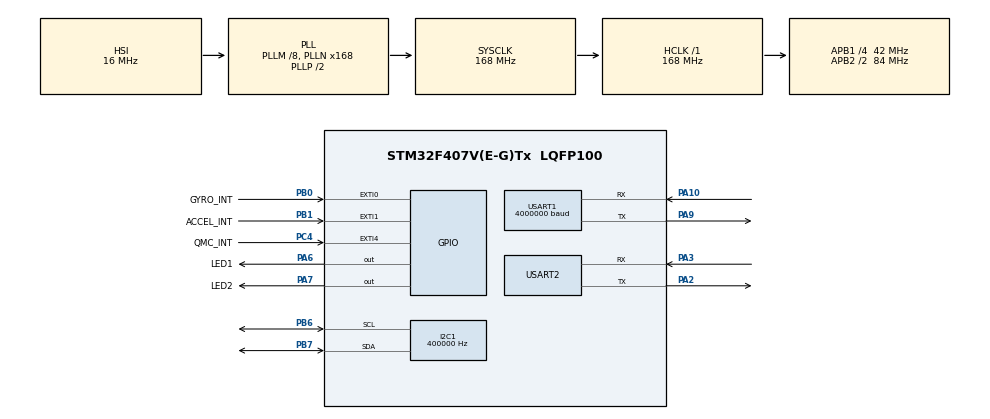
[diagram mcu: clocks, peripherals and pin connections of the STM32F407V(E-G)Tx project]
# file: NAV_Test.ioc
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Dma.I2C1_RX.4.Direction=DMA_PERIPH_TO_MEMORY
Dma.I2C1_RX.4.FIFOMode=DMA_FIFOMODE_DISABLE
Dma.I2C1_RX.4.Instance=DMA1_Stream0
Dma.I2C1_RX.4.MemDataAlignment=DMA_MDATAALIGN_BYTE
Dma.I2C1_RX.4.MemInc=DMA_MINC_ENABLE
Dma.I2C1_RX.4.Mode=DMA_NORMAL
Dma.I2C1_RX.4.PeriphDataAlignment=DMA_PDATAALIGN_BYTE
Dma.I2C1_RX.4.PeriphInc=DMA_PINC_DISABLE
Dma.I2C1_RX.4.Priority=DMA_PRIORITY_LOW
Dma.I2C1_TX.5.Direction=DMA_MEMORY_TO_PERIPH
Dma.I2C1_TX.5.FIFOMode=DMA_FIFOMODE_DISABLE
Dma.I2C1_TX.5.Instance=DMA1_Stream7
Dma.I2C1_TX.5.MemDataAlignment=DMA_MDATAALIGN_BYTE
Dma.I2C1_TX.5.MemInc=DMA_MINC_ENABLE
Dma.I2C1_TX.5.Mode=DMA_NORMAL
Dma.I2C1_TX.5.PeriphDataAlignment=DMA_PDATAALIGN_BYTE
Dma.I2C1_TX.5.PeriphInc=DMA_PINC_DISABLE
Dma.I2C1_TX.5.Priority=DMA_PRIORITY_LOW
Dma.Request0=USART1_RX
Dma.Request1=USART1_TX
Dma.Request2=USART2_TX
Dma.Request3=USART2_RX
Dma.Request4=I2C1_RX
Dma.Request5=I2C1_TX
Dma.USART1_RX.0.Direction=DMA_PERIPH_TO_MEMORY
Dma.USART1_RX.0.FIFOMode=DMA_FIFOMODE_DISABLE
Dma.USART1_RX.0.Instance=DMA2_Stream2
Dma.USART1_RX.0.MemDataAlignment=DMA_MDATAALIGN_BYTE
Dma.USART1_RX.0.MemInc=DMA_MINC_ENABLE
Dma.USART1_RX.0.Mode=DMA_NORMAL
Dma.USART1_RX.0.PeriphDataAlignment=DMA_PDATAALIGN_BYTE
Dma.USART1_RX.0.PeriphInc=DMA_PINC_DISABLE
Dma.USART1_RX.0.Priority=DMA_PRIORITY_LOW
Dma.USART1_TX.1.Direction=DMA_MEMORY_TO_PERIPH
Dma.USART1_TX.1.FIFOMode=DMA_FIFOMODE_ENABLE
Dma.USART1_TX.1.FIFOThreshold=DMA_FIFO_THRESHOLD_FULL
Dma.USART1_TX.1.Instance=DMA2_Stream7
Dma.USART1_TX.1.MemBurst=DMA_MBURST_SINGLE
Dma.USART1_TX.1.MemDataAlignment=DMA_MDATAALIGN_BYTE
Dma.USART1_TX.1.MemInc=DMA_MINC_ENABLE
Dma.USART1_TX.1.Mode=DMA_NORMAL
Dma.USART1_TX.1.PeriphBurst=DMA_PBURST_SINGLE
Dma.USART1_TX.1.PeriphDataAlignment=DMA_PDATAALIGN_BYTE
Dma.USART1_TX.1.PeriphInc=DMA_PINC_DISABLE
Dma.USART1_TX.1.Priority=DMA_PRIORITY_LOW
Dma.USART2_RX.3.Direction=DMA_PERIPH_TO_MEMORY
Dma.USART2_RX.3.FIFOMode=DMA_FIFOMODE_DISABLE
Dma.USART2_RX.3.Instance=DMA1_Stream5
Dma.USART2_RX.3.MemDataAlignment=DMA_MDATAALIGN_BYTE
Dma.USART2_RX.3.MemInc=DMA_MINC_ENABLE
Dma.USART2_RX.3.Mode=DMA_CIRCULAR
Dma.USART2_RX.3.PeriphDataAlignment=DMA_PDATAALIGN_BYTE
Dma.USART2_RX.3.PeriphInc=DMA_PINC_DISABLE
Dma.USART2_RX.3.Priority=DMA_PRIORITY_LOW
Dma.USART2_TX.2.Direction=DMA_MEMORY_TO_PERIPH
Dma.USART2_TX.2.FIFOMode=DMA_FIFOMODE_DISABLE
Dma.USART2_TX.2.Instance=DMA1_Stream6
Dma.USART2_TX.2.MemDataAlignment=DMA_MDATAALIGN_BYTE
Dma.USART2_TX.2.MemInc=DMA_MINC_ENABLE
Dma.USART2_TX.2.Mode=DMA_NORMAL
Dma.USART2_TX.2.PeriphDataAlignment=DMA_PDATAALIGN_BYTE
Dma.USART2_TX.2.PeriphInc=DMA_PINC_DISABLE
Dma.USART2_TX.2.Priority=DMA_PRIORITY_MEDIUM
I2C1.ClockSpeed=400000
I2C1.DutyCycle=I2C_DUTYCYCLE_2
I2C1.I2C_Mode=I2C_Fast
I2C1.NoStretchMode=I2C_NOSTRETCH_DISABLE
Mcu.Family=STM32F4
Mcu.Name=STM32F407V(E-G)Tx
Mcu.Package=LQFP100
NVIC.DMA1_Stream0_IRQn=true\:0\:0\:false\:false\:true\:false\:true
NVIC.DMA1_Stream5_IRQn=true\:0\:0\:false\:false\:true\:false\:true
NVIC.DMA1_Stream6_IRQn=true\:0\:0\:false\:false\:true\:false\:true
NVIC.DMA1_Stream7_IRQn=true\:0\:0\:false\:false\:true\:false\:true
NVIC.DMA2_Stream2_IRQn=true\:0\:0\:false\:false\:true\:false\:true
NVIC.DMA2_Stream7_IRQn=true\:0\:0\:false\:false\:true\:false\:true
NVIC.EXTI0_IRQn=true\:0\:0\:false\:false\:true\:true\:true
NVIC.EXTI1_IRQn=true\:0\:0\:false\:false\:true\:true\:true
NVIC.EXTI4_IRQn=true\:0\:0\:false\:false\:true\:true\:true
NVIC.I2C1_ER_IRQn=true\:0\:0\:false\:false\:true\:true\:true
NVIC.I2C1_EV_IRQn=true\:0\:0\:false\:false\:true\:true\:true
NVIC.PriorityGroup=NVIC_PRIORITYGROUP_4
NVIC.USART1_IRQn=true\:0\:0\:false\:false\:true\:true\:true
NVIC.USART2_IRQn=true\:0\:0\:false\:false\:true\:true\:true
PA10.Mode=Asynchronous
PA10.Signal=USART1_RX
PA2.Mode=Asynchronous
PA2.Signal=USART2_TX
PA3.Mode=Asynchronous
PA3.Signal=USART2_RX
PA6.GPIO_Label=LED1
PA6.Signal=GPIO_Output
PA7.GPIO_Label=LED2
PA7.Signal=GPIO_Output
PA9.Mode=Asynchronous
PA9.Signal=USART1_TX
PB0.GPIO_Label=GYRO_INT
PB0.Signal=GPXTI0
PB1.GPIO_Label=ACCEL_INT
PB1.Signal=GPXTI1
PB6.GPIO_Pu=GPIO_NOPULL
PB6.Mode=I2C
PB6.Signal=I2C1_SCL
PB7.GPIO_Pu=GPIO_NOPULL
PB7.Mode=I2C
PB7.Signal=I2C1_SDA
PC4.GPIO_Label=QMC_INT
PC4.Signal=GPXTI4
ProjectManager.HeapSize=0x200
ProjectManager.StackSize=0x400
ProjectManager.TargetToolchain=STM32CubeIDE
RCC.48MHZClocksFreq_Value=84000000
RCC.AHBFreq_Value=168000000
RCC.APB1CLKDivider=RCC_HCLK_DIV4
RCC.APB1Freq_Value=42000000
RCC.APB1TimFreq_Value=84000000
RCC.APB2CLKDivider=RCC_HCLK_DIV2
RCC.APB2Freq_Value=84000000
RCC.APB2TimFreq_Value=168000000
RCC.CortexFreq_Value=168000000
RCC.HCLKFreq_Value=168000000
RCC.HSE_VALUE=25000000
RCC.HSI_VALUE=16000000
RCC.LSE_VALUE=32768
RCC.PLLM=8
RCC.PLLN=168
RCC.SYSCLKFreq_VALUE=168000000
RCC.SYSCLKSource=RCC_SYSCLKSOURCE_PLLCLK
RCC.VCOOutputFreq_Value=336000000
USART1.BaudRate=4000000
USART1.VirtualMode=VM_ASYNC
USART2.BaudRate=1.0447968*9600
USART2.VirtualMode=VM_ASYNC
board=custom

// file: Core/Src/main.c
/* USER CODE BEGIN Header */
/**
  ******************************************************************************
  * @file           : main.c
  * @brief          : Main program body
  ******************************************************************************
  * @attention
  *
  * <h2><center>&copy; Copyright (c) 2021 STMicroelectronics.
  * All rights reserved.</center></h2>
  *
  * This software component is licensed by ST under BSD 3-Clause license,
  * the "License"; You may not use this file except in compliance with the
  * License. You may obtain a copy of the License at:
  *                        opensource.org/licenses/BSD-3-Clause
  *
  ******************************************************************************
  */
/* USER CODE END Header */
#include "main.h"

/* USER CODE BEGIN Includes */
#include "gps_helpers.h"
#include "imu_helpers.h"
#include <math.h>
#include <stdarg.h>
#include <stdbool.h>
#include <stdlib.h>
#define CRC_CCITT
#include "../ThirdParty/CRC/crc.h"
/* USER CODE END Includes */

/* USER CODE BEGIN PD */
#define SERIAL_BUFFER_SIZE 4096
/* USER CODE END PD */

I2C_HandleTypeDef hi2c1;
DMA_HandleTypeDef hdma_i2c1_rx;
DMA_HandleTypeDef hdma_i2c1_tx;

UART_HandleTypeDef huart1;
UART_HandleTypeDef huart2;
DMA_HandleTypeDef hdma_usart1_rx;
DMA_HandleTypeDef hdma_usart1_tx;
DMA_HandleTypeDef hdma_usart2_tx;
DMA_HandleTypeDef hdma_usart2_rx;

/* USER CODE BEGIN PV */

// Avoid processing interrupts while we're still initing
bool initCompleted = false;

/* USER CODE END PV */

void SystemClock_Config(void);
static void MX_GPIO_Init(void);
static void MX_DMA_Init(void);
static void MX_USART1_UART_Init(void);
static void MX_USART2_UART_Init(void);
static void MX_I2C1_Init(void);

/* USER CODE BEGIN 0 */
uint8_t Buffer[256];
/* USER CODE END 0 */

int main(void)
{

  /* MCU Configuration--------------------------------------------------------*/

  /* Reset of all peripherals, Initializes the Flash interface and the Systick. */
  HAL_Init();

  /* Configure the system clock */
  SystemClock_Config();

  /* Initialize all configured peripherals */
  MX_GPIO_Init();
  MX_DMA_Init();
  MX_USART1_UART_Init();
  MX_USART2_UART_Init();
  MX_I2C1_Init();
  /* USER CODE BEGIN 2 */

  // Turn off the GPS fix status LED
  HAL_GPIO_WritePin(LED2_GPIO_Port, LED2_Pin, GPIO_PIN_RESET);

  // Initialize the GPS module and configure it to use the higher baudrate/UBX protocol
  // NOTE: Innitial delay is to give the sensor bus some time to start up / testing showed the GPS module needs ~1-2 seconds to start up before we can talk to it/configure it
  HAL_Delay(2000);
  PerformProtoNegotiation(&huart2, 9600, 115200);
  HAL_StatusTypeDef StartListenResult = HAL_UARTEx_ReceiveToIdle_DMA(&huart2, GPSBuffer, GPS_BUFFER_SIZE);

/*
  uint8_t Buffer[25] = {0};
  uint8_t Space[] = " - ";
  uint8_t StartMSG[] = "Starting I2C Scanning: \r\n";
  uint8_t EndMSG[] = "Done! \r\n\r\n";
  HAL_UART_Transmit(&huart2, StartMSG, sizeof(StartMSG), 10000);
  uint8_t i = 0, ret;
      for(i=1; i<128; i++)
      {
          ret = HAL_I2C_IsDeviceReady(&hi2c1, (uint16_t)(i<<1), 3, 5);
          if (ret != HAL_OK) // No ACK Received At That Address
          {
              HAL_UART_Transmit(&huart2, Space, sizeof(Space), 10000);
          }
          else if(ret == HAL_OK)
          {
              sprintf(Buffer, "0x%X", i);
              HAL_UART_Transmit(&huart2, Buffer, sizeof(Buffer), 10000);
          }
      }
      HAL_UART_Transmit(&huart2, EndMSG, sizeof(EndMSG), 10000);
      //--[ Scanning Done ]--
*/

  PerformImuConfiguration(&hi2c1, 3200, 3200);
  unsigned long int last_iTOW = 0;
  char buffer[SERIAL_BUFFER_SIZE];

  // Completed setup!
  initCompleted = true;
  /* USER CODE END 2 */

  /* Infinite loop */
  /* USER CODE BEGIN WHILE */
  while (1)
  {
	  /*
	  // TODO: Not ideal//replace with more robust alternative
	  // Pretty much catches case when no update is available for 1x
	  if (imuUpdateFlag == 0)
	  {
		  HAL_Delay(100);
		  if (imuUpdateFlag == 0)
		  {
			  LogDebugMessage("Lockup Detected!");
			  HAL_I2C_Master_Abort_IT(&hi2c1, GYRO_ADDR);
			  HAL_I2C_Master_Abort_IT(&hi2c1, ADXL345_ADDR);
			  HAL_I2C_StateTypeDef I2CState = HAL_I2C_GetState(&hi2c1);
			  LogDebugMessage("I2C State: %d", (int)I2CState);
			  // Disable and then re-ennable the i2c peripheral

			  hi2c1.Instance->CR1 |= I2C_CR1_STOP;
			  hi2c1.Instance->CR1 &= ~I2C_CR1_PE;
			  HAL_Delay(100);
			  hi2c1.Instance->CR1 &= ~I2C_CR1_STOP;
			  hi2c1.Instance->CR1 |= I2C_CR1_PE;
		  }
	  }*/

	  // Turn the second built-in LED on when a successful (new) valid GNSS fix was found
	  if (GPSUpdateFlags & GPS_UPDATE_AVAILABLE)
	  {
		  // Was this fix valid?
		  if (lastNavFix.flags & NAV_PVT_FLAGS_OKFIX && lastNavFix.fixType == 3)
		  {
			  // Valid fix! Turn the fix light on
			  HAL_GPIO_WritePin(LED2_GPIO_Port, LED2_Pin, GPIO_PIN_RESET);

			  // Copy the relevant data to our GPS packet and send it
			  GPSPacket gpsPacket;
			  gpsPacket.bValidFix = true;
			  gpsPacket.latitude = lastNavFix.lat*powf(10, -7);
			  gpsPacket.longitude = lastNavFix.lon*powf(10, -7);
			  gpsPacket.height = lastNavFix.height*powf(10, -3);
			  gpsPacket.vN = lastNavFix.velN*powf(10, -3);
			  gpsPacket.vE = lastNavFix.velE*powf(10, -3);
			  gpsPacket.vD = lastNavFix.velD*powf(10, -3);
			  gpsPacket.hAcc = lastNavFix.hAcc*powf(10, -3);
			  gpsPacket.vAcc =lastNavFix.vAcc*powf(10, -3);
			  gpsPacket.sAcc = lastNavFix.sAcc*powf(10, -3);
			  SendPacket(GPS_PACKET_ID, (void*)&gpsPacket, sizeof(gpsPacket));
		  }
		  else
		  {
			  // Invalid fix! Turn the fix light off
			  HAL_GPIO_WritePin(LED2_GPIO_Port, LED2_Pin, GPIO_PIN_SET);

			  // Send a packet telling the listener that we don't currently have a valid GPS fix
			  GPSPacket gpsPacket;
			  gpsPacket.bValidFix = false;
			  SendPacket(GPS_PACKET_ID, (void*)&gpsPacket, sizeof(gpsPacket));
		  }

		  // Reset the fix available flag
		  GPSUpdateFlags &= ~GPS_UPDATE_AVAILABLE;
	  }

	  if (imuUpdateFlag & ACCEL_AVAILABLE_FLAG)
	  {

		  vector3f AccelData = GetAccelData();
		  // NOTE: Blocking fn / won't unset data -> can use local var as ptr
		  SendPacket(ACCEL_PACKET_ID, (void*)&AccelData, sizeof(AccelData));
	  }

	  if (imuUpdateFlag & GYRO_AVAILABLE_FLAG)
	  {
		  vector3f GyroData = GetGyroData();
		  SendPacket(GYRO_PACKET_ID, (void*)&GyroData, sizeof(GyroData));
	  }

	  if (imuUpdateFlag & QMC_AVAILABLE_FLAG)
	  {
		  vector3f MagData = GetMagData();
		  // Obtain the norm/magnitude of the magnetic field vector
		  ///float MagNorm = sqrtf(powf(MagData.x, 2) + powf(MagData.y, 2) + powf(MagData.z, 2));

		  SendPacket(MAG_PACKET_ID, (void*)&MagData, sizeof(MagData));
	  }

    /* USER CODE END WHILE */

  }
}

void SystemClock_Config(void)
{
  RCC_OscInitTypeDef RCC_OscInitStruct = {0};
  RCC_ClkInitTypeDef RCC_ClkInitStruct = {0};

  /** Configure the main internal regulator output voltage
  */
  __HAL_RCC_PWR_CLK_ENABLE();
  __HAL_PWR_VOLTAGESCALING_CONFIG(PWR_REGULATOR_VOLTAGE_SCALE1);
  /** Initializes the RCC Oscillators according to the specified parameters
  * in the RCC_OscInitTypeDef structure.
  */
  RCC_OscInitStruct.OscillatorType = RCC_OSCILLATORTYPE_HSI;
  RCC_OscInitStruct.HSIState = RCC_HSI_ON;
  RCC_OscInitStruct.HSICalibrationValue = RCC_HSICALIBRATION_DEFAULT;
  RCC_OscInitStruct.PLL.PLLState = RCC_PLL_ON;
  RCC_OscInitStruct.PLL.PLLSource = RCC_PLLSOURCE_HSI;
  RCC_OscInitStruct.PLL.PLLM = 8;
  RCC_OscInitStruct.PLL.PLLN = 168;
  RCC_OscInitStruct.PLL.PLLP = RCC_PLLP_DIV2;
  RCC_OscInitStruct.PLL.PLLQ = 4;
  if (HAL_RCC_OscConfig(&RCC_OscInitStruct) != HAL_OK)
  {
    Error_Handler();
  }
  /** Initializes the CPU, AHB and APB buses clocks
  */
  RCC_ClkInitStruct.ClockType = RCC_CLOCKTYPE_HCLK|RCC_CLOCKTYPE_SYSCLK
                              |RCC_CLOCKTYPE_PCLK1|RCC_CLOCKTYPE_PCLK2;
  RCC_ClkInitStruct.SYSCLKSource = RCC_SYSCLKSOURCE_PLLCLK;
  RCC_ClkInitStruct.AHBCLKDivider = RCC_SYSCLK_DIV1;
  RCC_ClkInitStruct.APB1CLKDivider = RCC_HCLK_DIV4;
  RCC_ClkInitStruct.APB2CLKDivider = RCC_HCLK_DIV2;

  if (HAL_RCC_ClockConfig(&RCC_ClkInitStruct, FLASH_LATENCY_5) != HAL_OK)
  {
    Error_Handler();
  }
}

static void MX_I2C1_Init(void)
{

  hi2c1.Instance = I2C1;
  hi2c1.Init.ClockSpeed = 400000;
  hi2c1.Init.DutyCycle = I2C_DUTYCYCLE_2;
  hi2c1.Init.OwnAddress1 = 0;
  hi2c1.Init.AddressingMode = I2C_ADDRESSINGMODE_7BIT;
  hi2c1.Init.DualAddressMode = I2C_DUALADDRESS_DISABLE;
  hi2c1.Init.OwnAddress2 = 0;
  hi2c1.Init.GeneralCallMode = I2C_GENERALCALL_DISABLE;
  hi2c1.Init.NoStretchMode = I2C_NOSTRETCH_DISABLE;
  if (HAL_I2C_Init(&hi2c1) != HAL_OK)
  {
    Error_Handler();
  }

}

static void MX_USART1_UART_Init(void)
{

  huart1.Instance = USART1;
  huart1.Init.BaudRate = 4000000;
  huart1.Init.WordLength = UART_WORDLENGTH_8B;
  huart1.Init.StopBits = UART_STOPBITS_1;
  huart1.Init.Parity = UART_PARITY_NONE;
  huart1.Init.Mode = UART_MODE_TX_RX;
  huart1.Init.HwFlowCtl = UART_HWCONTROL_NONE;
  huart1.Init.OverSampling = UART_OVERSAMPLING_16;
  if (HAL_UART_Init(&huart1) != HAL_OK)
  {
    Error_Handler();
  }

}

static void MX_USART2_UART_Init(void)
{

  huart2.Instance = USART2;
  huart2.Init.BaudRate = 1.0447968*9600;
  huart2.Init.WordLength = UART_WORDLENGTH_8B;
  huart2.Init.StopBits = UART_STOPBITS_1;
  huart2.Init.Parity = UART_PARITY_NONE;
  huart2.Init.Mode = UART_MODE_TX_RX;
  huart2.Init.HwFlowCtl = UART_HWCONTROL_NONE;
  huart2.Init.OverSampling = UART_OVERSAMPLING_16;
  if (HAL_UART_Init(&huart2) != HAL_OK)
  {
    Error_Handler();
  }

}

static void MX_DMA_Init(void)
{

  /* DMA controller clock enable */
  __HAL_RCC_DMA2_CLK_ENABLE();
  __HAL_RCC_DMA1_CLK_ENABLE();

  /* DMA interrupt init */
  /* DMA1_Stream0_IRQn interrupt configuration */
  HAL_NVIC_SetPriority(DMA1_Stream0_IRQn, 0, 0);
  HAL_NVIC_EnableIRQ(DMA1_Stream0_IRQn);
  /* DMA1_Stream5_IRQn interrupt configuration */
  HAL_NVIC_SetPriority(DMA1_Stream5_IRQn, 0, 0);
  HAL_NVIC_EnableIRQ(DMA1_Stream5_IRQn);
  /* DMA1_Stream6_IRQn interrupt configuration */
  HAL_NVIC_SetPriority(DMA1_Stream6_IRQn, 0, 0);
  HAL_NVIC_EnableIRQ(DMA1_Stream6_IRQn);
  /* DMA1_Stream7_IRQn interrupt configuration */
  HAL_NVIC_SetPriority(DMA1_Stream7_IRQn, 0, 0);
  HAL_NVIC_EnableIRQ(DMA1_Stream7_IRQn);
  /* DMA2_Stream2_IRQn interrupt configuration */
  HAL_NVIC_SetPriority(DMA2_Stream2_IRQn, 0, 0);
  HAL_NVIC_EnableIRQ(DMA2_Stream2_IRQn);
  /* DMA2_Stream7_IRQn interrupt configuration */
  HAL_NVIC_SetPriority(DMA2_Stream7_IRQn, 0, 0);
  HAL_NVIC_EnableIRQ(DMA2_Stream7_IRQn);

}

static void MX_GPIO_Init(void)
{
  GPIO_InitTypeDef GPIO_InitStruct = {0};

  /* GPIO Ports Clock Enable */
  __HAL_RCC_GPIOA_CLK_ENABLE();
  __HAL_RCC_GPIOC_CLK_ENABLE();
  __HAL_RCC_GPIOB_CLK_ENABLE();

  /*Configure GPIO pin Output Level */
  HAL_GPIO_WritePin(GPIOA, LED1_Pin|LED2_Pin, GPIO_PIN_RESET);

  /*Configure GPIO pins : LED1_Pin LED2_Pin */
  GPIO_InitStruct.Pin = LED1_Pin|LED2_Pin;
  GPIO_InitStruct.Mode = GPIO_MODE_OUTPUT_PP;
  GPIO_InitStruct.Pull = GPIO_NOPULL;
  GPIO_InitStruct.Speed = GPIO_SPEED_FREQ_LOW;
  HAL_GPIO_Init(GPIOA, &GPIO_InitStruct);

  /*Configure GPIO pin : QMC_INT_Pin */
  GPIO_InitStruct.Pin = QMC_INT_Pin;
  GPIO_InitStruct.Mode = GPIO_MODE_IT_RISING;
  GPIO_InitStruct.Pull = GPIO_NOPULL;
  HAL_GPIO_Init(QMC_INT_GPIO_Port, &GPIO_InitStruct);

  /*Configure GPIO pins : GYRO_INT_Pin ACCEL_INT_Pin */
  GPIO_InitStruct.Pin = GYRO_INT_Pin|ACCEL_INT_Pin;
  GPIO_InitStruct.Mode = GPIO_MODE_IT_RISING;
  GPIO_InitStruct.Pull = GPIO_NOPULL;
  HAL_GPIO_Init(GPIOB, &GPIO_InitStruct);

  /* EXTI interrupt init*/
  HAL_NVIC_SetPriority(EXTI0_IRQn, 0, 0);
  HAL_NVIC_EnableIRQ(EXTI0_IRQn);

  HAL_NVIC_SetPriority(EXTI1_IRQn, 0, 0);
  HAL_NVIC_EnableIRQ(EXTI1_IRQn);

  HAL_NVIC_SetPriority(EXTI4_IRQn, 0, 0);
  HAL_NVIC_EnableIRQ(EXTI4_IRQn);

}

/* USER CODE BEGIN 4 */
void HAL_UART_RxCpltCallback(UART_HandleTypeDef *huart)
{
	HAL_GPIO_TogglePin(LED1_GPIO_Port, LED1_Pin);
}
void HAL_UART_RxHalfCpltCallback(UART_HandleTypeDef *huart)
{
	HAL_GPIO_TogglePin(LED1_GPIO_Port, LED1_Pin);
}
void HAL_UARTEx_RxEventCallback(UART_HandleTypeDef *huart, uint16_t Size)
{
	// Is this message relevant to the UART connenction used for GPS traffic? If so, pass it along to the GPS handler for further processinng.
	// NOTE: Assuming only one (global) huart instance exists -> the address will be the same, and functions as an equals check between the two objects.
	if (huart == &huart2)
	{
		ProcessGPSBuffer(Size);
	}
}

void HAL_UART_ErrorCallback(UART_HandleTypeDef *huart)
{
	uint32_t Error = HAL_UART_GetError(huart);
	HAL_GPIO_TogglePin(LED1_GPIO_Port, LED1_Pin);
	//__HAL_UART_CLEAR_OREFLAG(huart);
	//UNUSED(huart);
}

void HAL_GPIO_EXTI_Callback(uint16_t GPIO_Pin)
{
	// Ensure initialization was completed before we handle interrupts - it will trigger a hardFault otherwise
	if (!initCompleted)
	{
		return;
	}

	// TODO: Check IQn and/or port - pretty much, make sure this is indeed the iterrupt we want
	if (GPIO_Pin == ACCEL_INT_Pin)
	{
		HandleAccelInterrupt();
	}
	else if (GPIO_Pin == GYRO_INT_Pin)
	{
		HandleGyroInterrupt();
	}
	else if (GPIO_Pin == QMC_INT_Pin)
	{
		HandleQMCInterrupt();
	}
}

void HAL_I2C_MemRxCpltCallback(I2C_HandleTypeDef *hi2c)
{
	// TODO: Implemet I2C checks (i.e. make sure it only triggers for hi2c1, not the others)
	HandleI2CInterrupt(hi2c);
}

/**
 * Simple debug print function that dumps the result to the serial. Limited to at most 2047 characters and suffixes a \n by default.
 * @param fmt The format string.
 */
void LogDebugMessage(char *fmt, ...)
{
	// TODO: Does not appear to work well with multiple floats - that will need to be fixed!
	// TODO: Replace hard-coded buffer size?
	char buffer[2048];

	va_list argp;
	va_start(argp, fmt);
	int charsWritten = vsnprintf(buffer, 2048, fmt, argp);
	va_end(argp);

	// Ensure the formatting was successful
	if (charsWritten < 2048 && charsWritten > 0)
	{
		// NOTE: We don't really care about the \0, but we do want to make sure the serial newlines after each message
		buffer[charsWritten] = '\n';
		// OTE: The +1 ensures the \n is transmitted as well
		HAL_UART_Transmit/*_IT*/(&huart1, buffer, charsWritten+1, 1000);
	}
}

void HAL_I2C_ErrorCallback (I2C_HandleTypeDef *hi2c)
{
	LogDebugMessage("ErrorCallback!");
	// Reset IMU awaiting flags so this failed transfer does not lead to blocking all future attempts at communication because we suspect the I2C bus is still busy
	// NOTE: Not automagically continuing to the next transfer as the I2C bus might need some time to recover from the error (? no basis, but just a guess) + we don't
	// want this interrupt to take too long; we might want to change this in the future to help improve bus utilization after an error. (right now the watchdog triggers pretty often / main doesn't take long to process)
	internalStateFlags &= ~STATE_AWAITING_MASK;

	return;
}

void HAL_I2C_AbortCpltCallback (I2C_HandleTypeDef *hi2c)
{
	LogDebugMessage("AbortCpltCallback!");
}

// Basic custom serial data protocol; there might be better/more "formal" ways to do this, but this is just a quick demo // our final protocol will be more advanced + will likely rely on dedicated hardware/multiple transport layers
// NOTE: This is just a made up sync pattern - no data analysis or research was performed, so it might be really bad.
#define SYNC_PATTERN_A 0xFF
#define SYNC_PATTERN_B 0x8C
#define SYNC_PATTERN_SIZE 2 // Helper function to aovid hard-coding the two in

void SendPacket(uint8_t pktId, void *data, uint16_t dataSize)
{
	// Create a temporary buffer to store the message in
	size_t packetSize = /*sync*/2 + /*packet ID*/sizeof(pktId) + /*length*/sizeof(dataSize) + /* data*/dataSize + /*checksum*/sizeof(uint16_t);
	uint8_t *packet = malloc(packetSize);

	// Pack the header
	packet[0] = SYNC_PATTERN_A;
	packet[1] = SYNC_PATTERN_B;

	// Packet ID
	packet[SYNC_PATTERN_SIZE] = pktId;
	// NOTE: Below is essentially a reinterpret cast / because we know it's large enough (due to the sizeof), we
	// can set it in this way. This avoids messing with bitmasks + ensures it's encoded in the same way as
	// the void* argument (which is probably a casted struct). A more robust protocol would probably make this
	// more deterministic/better, but for now this works...OK?
	*((uint16_t*)&packet[SYNC_PATTERN_SIZE+sizeof(pktId)]) = dataSize;

	// Copy over the actual data
	memcpy(&packet[SYNC_PATTERN_SIZE+sizeof(pktId)+sizeof(dataSize)], data, dataSize);

	// Compute the checksum over all of the packet less the space that is "reserved" for the checksum and the sync pattern
	// NOTE: Would have used the CRC peripheral, but unfortuantely that requires the data to have a size that is
	// a multiple of the size of a word -> that would need padding. This was deemed not worth it (for now), so
	// we're using an online 16-bit CRC implementation (which is probably more appropriate anyway considering the
	// reasonably small packet sizes).
	// NOTE: This static way isn't perfect, but since this is the only code that uses CRC / this is a temporary protocol anyway, it should work; KISS
	static bool crcInitialized = false;
	if (!crcInitialized)
	{
		crcInit();
		crcInitialized = true;
	}

	// Compute/set the checksum
	// NOTE: This appears to be CCITT-FALSE!
	uint16_t checksum = crcFast(&packet[SYNC_PATTERN_SIZE], sizeof(pktId)+sizeof(dataSize)+dataSize);
	*((uint16_t*)&packet[packetSize-sizeof(uint16_t)]) = checksum;

	// Transmit the packet
	HAL_UART_Transmit_DMA(&huart1, packet, packetSize);

	// Free the packet buffer to avoid leaking
	free(packet);
}

/* USER CODE END 4 */

void Error_Handler(void)
{
  __disable_irq();
  while (1)
  {
  }
}

/************************ (C) COPYRIGHT STMicroelectronics *****END OF FILE****/
